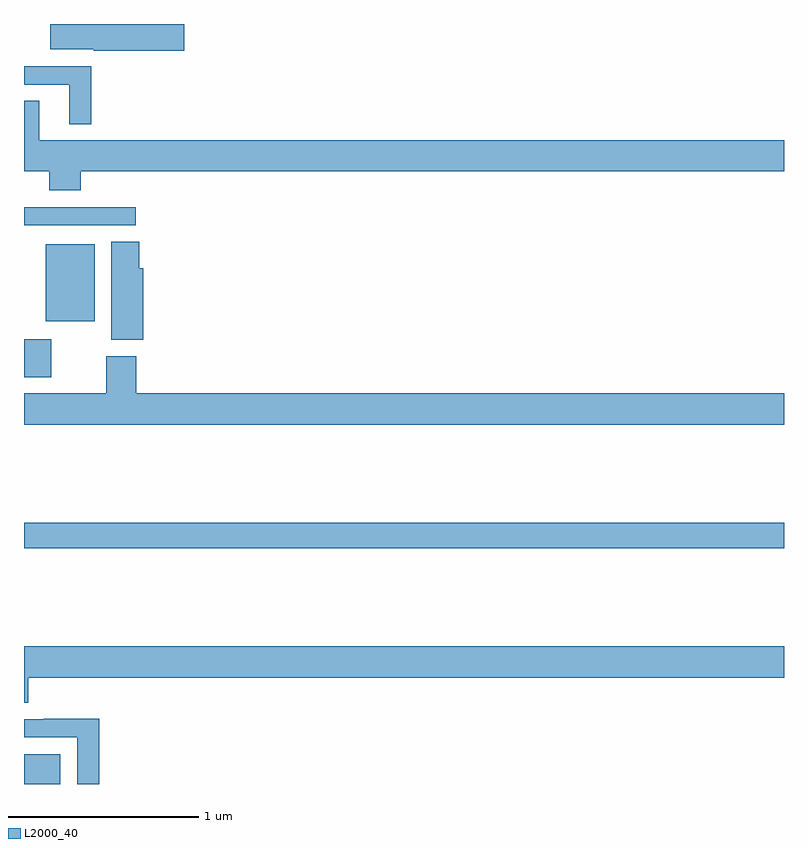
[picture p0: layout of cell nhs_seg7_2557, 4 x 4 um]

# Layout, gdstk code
import gdstk
lib = gdstk.Library(unit=1e-6, precision=1e-09)
def R(c, l, rs):  # rectangles x0, y0, x1, y1
    for r in rs: c.add(gdstk.rectangle(r[:2], r[2:], *l))
def P(c, l, *ps):  # polygons
    for p in ps: c.add(gdstk.Polygon(p, *l))
L2000_40 = (2000, 40)

nhs_seg7_2557 = lib.new_cell('nhs_seg7_2557')
R(nhs_seg7_2557, L2000_40, [(277,1056,277.192,1056.157), (277,1057.24,281,1057.376), (277,1058.142,277.143,1058.34), (277.115,1058.435,277.372,1058.842), (277,1058.94,277.588,1059.036)])
P(nhs_seg7_2557, L2000_40, [(277.843,1060),(277.137,1060),(277.137,1059.866),(277.368,1059.866),(277.368,1059.859),(277.843,1059.859)],
  [(277.355,1059.777),(277,1059.777),(277,1059.684),(277.003,1059.684),(277.003,1059.681),(277.238,1059.681),(277.238,1059.473),(277.355,1059.473)],
  [(277.298,1059.224),(281,1059.224),(281,1059.388),(277.081,1059.388),(277.081,1059.596),(277,1059.596),(277,1059.224),(277.133,1059.224),(277.133,1059.125),(277.298,1059.125)],
  [(277.628,1058.715),(277.607,1058.715),(277.607,1058.855),(277.46,1058.855),(277.46,1058.339),(277.628,1058.339)],
  [(281,1058.056),(277.592,1058.056),(277.592,1058.251),(277.432,1058.251),(277.432,1058.056),(277,1058.056),(277,1057.892),(281,1057.892)],
  [(277.022,1056.56),(281,1056.56),(281,1056.724),(277,1056.724),(277,1056.427),(277.022,1056.427)],
  [(277.397,1056.344),(277.105,1056.344),(277.105,1056.342),(277,1056.342),(277,1056.246),(277.281,1056.246),(277.281,1056),(277.397,1056)])

lib.write_gds('nhs_seg7_2557.gds')
